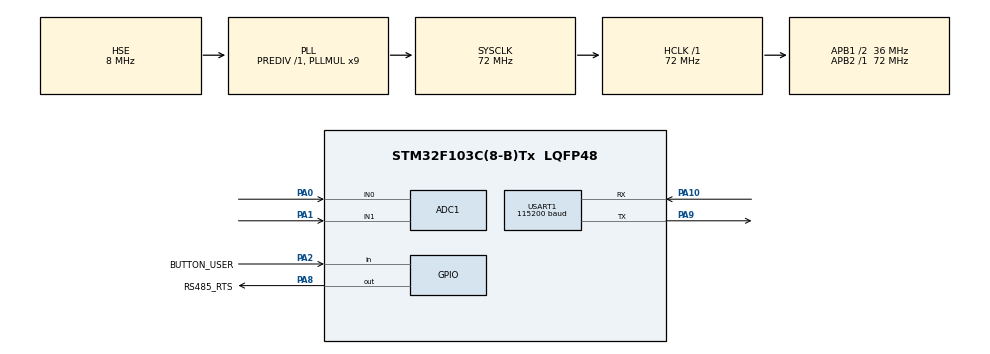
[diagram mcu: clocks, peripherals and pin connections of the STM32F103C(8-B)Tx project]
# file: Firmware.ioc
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ADC1.Channel-0\#ChannelRegularConversion=ADC_CHANNEL_0
ADC1.Channel-1\#ChannelRegularConversion=ADC_CHANNEL_1
ADC1.ContinuousConvMode=DISABLE
ADC1.ExternalTrigConv=ADC_EXTERNALTRIGCONV_T3_TRGO
ADC1.NbrOfConversion=2
ADC1.NbrOfConversionFlag=1
ADC1.Rank-0\#ChannelRegularConversion=1
ADC1.Rank-1\#ChannelRegularConversion=2
ADC1.SamplingTime-0\#ChannelRegularConversion=ADC_SAMPLETIME_1CYCLE_5
ADC1.SamplingTime-1\#ChannelRegularConversion=ADC_SAMPLETIME_1CYCLE_5
ADC1.master=1
Dma.ADC1.0.Direction=DMA_PERIPH_TO_MEMORY
Dma.ADC1.0.Instance=DMA1_Channel1
Dma.ADC1.0.MemDataAlignment=DMA_MDATAALIGN_HALFWORD
Dma.ADC1.0.MemInc=DMA_MINC_ENABLE
Dma.ADC1.0.Mode=DMA_CIRCULAR
Dma.ADC1.0.PeriphDataAlignment=DMA_PDATAALIGN_HALFWORD
Dma.ADC1.0.PeriphInc=DMA_PINC_DISABLE
Dma.ADC1.0.Priority=DMA_PRIORITY_LOW
Dma.Request0=ADC1
Mcu.Family=STM32F1
Mcu.Name=STM32F103C(8-B)Tx
Mcu.Package=LQFP48
NVIC.DMA1_Channel1_IRQn=true\:0\:0\:false\:false\:true\:false\:true
NVIC.PriorityGroup=NVIC_PRIORITYGROUP_4
NVIC.TIM4_IRQn=true\:0\:0\:false\:false\:true\:true\:true
NVIC.USART1_IRQn=true\:0\:0\:false\:false\:true\:true\:true
PA0-WKUP.Signal=ADCx_IN0
PA1.Signal=ADCx_IN1
PA10.Mode=Asynchronous
PA10.Signal=USART1_RX
PA13.Mode=Serial_Wire
PA13.Signal=SYS_JTMS-SWDIO
PA14.Mode=Serial_Wire
PA14.Signal=SYS_JTCK-SWCLK
PA2.GPIO_Label=BUTTON_USER
PA2.GPIO_PuPd=GPIO_PULLUP
PA2.Signal=GPIO_Input
PA8.GPIO_Label=RS485_RTS
PA8.GPIO_Speed=GPIO_SPEED_FREQ_HIGH
PA8.Signal=GPIO_Output
PA9.Mode=Asynchronous
PA9.Signal=USART1_TX
PD0-OSC_IN.Mode=HSE-External-Oscillator
PD0-OSC_IN.Signal=RCC_OSC_IN
PD1-OSC_OUT.Mode=HSE-External-Oscillator
PD1-OSC_OUT.Signal=RCC_OSC_OUT
ProjectManager.HeapSize=0x200
ProjectManager.StackSize=0x400
ProjectManager.TargetToolchain=Makefile
RCC.ADCPresc=RCC_ADCPCLK2_DIV6
RCC.AHBFreq_Value=72000000
RCC.APB1CLKDivider=RCC_HCLK_DIV2
RCC.APB1Freq_Value=36000000
RCC.APB1TimFreq_Value=72000000
RCC.APB2Freq_Value=72000000
RCC.APB2TimFreq_Value=72000000
RCC.HCLKFreq_Value=72000000
RCC.PLLMUL=RCC_PLL_MUL9
RCC.PLLSourceVirtual=RCC_PLLSOURCE_HSE
RCC.SYSCLKFreq_VALUE=72000000
RCC.SYSCLKSource=RCC_SYSCLKSOURCE_PLLCLK
RCC.USBFreq_Value=72000000
SH.ADCx_IN0.0=ADC1_IN0,IN0
SH.ADCx_IN1.0=ADC1_IN1,IN1
TIM3.AutoReloadPreload=TIM_AUTORELOAD_PRELOAD_ENABLE
TIM3.Period=9
TIM3.Prescaler=7199
TIM3.TIM_MasterOutputTrigger=TIM_TRGO_UPDATE
TIM4.Period=49
TIM4.Prescaler=71
USART1.BaudRate=115200
USART1.VirtualMode=VM_ASYNC
VP_TIM3_VS_ClockSourceINT.Mode=Internal
VP_TIM4_VS_ClockSourceINT.Mode=Internal
board=custom

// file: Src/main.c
/* USER CODE BEGIN Header */
/**
  ******************************************************************************
  * @file           : main.c
  * @brief          : Main program body
  ******************************************************************************
  * @attention
  *
  * <h2><center>&copy; Copyright (c) 2020 STMicroelectronics.
  * All rights reserved.</center></h2>
  *
  * This software component is licensed by ST under BSD 3-Clause license,
  * the "License"; You may not use this file except in compliance with the
  * License. You may obtain a copy of the License at:
  *                        opensource.org/licenses/BSD-3-Clause
  *
  ******************************************************************************
  */
/* USER CODE END Header */

#include "main.h"

/* USER CODE BEGIN Includes */
#include "mb.h"
#include "mbport.h"
#include "user_mb_app.h"
/* USER CODE END Includes */

ADC_HandleTypeDef hadc1;
DMA_HandleTypeDef hdma_adc1;

TIM_HandleTypeDef htim3;
TIM_HandleTypeDef htim4;

UART_HandleTypeDef huart1;

void SystemClock_Config(void);
static void MX_GPIO_Init(void);
static void MX_DMA_Init(void);
static void MX_USART1_UART_Init(void);
static void MX_ADC1_Init(void);
static void MX_TIM3_Init(void);
static void MX_TIM4_Init(void);

/* USER CODE BEGIN 0 */
extern uint16_t usSRegInBuf[];
extern uint8_t ucSDiscInBuf[];
uint16_t adc_data[2];

void HAL_ADC_ConvCpltCallback(ADC_HandleTypeDef* hadc)
{
	if(hadc->Instance == hadc1.Instance)
	{
		usSRegInBuf[0] = adc_data[0];
		usSRegInBuf[1] = adc_data[1];
	}
}

/* USER CODE END 0 */

int main(void)
{

  /* MCU Configuration--------------------------------------------------------*/

  /* Reset of all peripherals, Initializes the Flash interface and the Systick. */
  HAL_Init();

  /* Configure the system clock */
  SystemClock_Config();

  /* Initialize all configured peripherals */
  MX_GPIO_Init();
  MX_DMA_Init();
  MX_USART1_UART_Init();
  MX_ADC1_Init();
  MX_TIM3_Init();
  MX_TIM4_Init();
  /* USER CODE BEGIN 2 */
  HAL_TIM_Base_Start_IT(&htim3);
  HAL_ADC_Start_DMA(&hadc1,(uint32_t*) &adc_data, 2);

  eMBInit( MB_RTU, 0x0A, &huart1, 115200, &htim4 );
  eMBEnable( );
  /* USER CODE END 2 */

  /* Infinite loop */
  while (1)
  {

    /* USER CODE BEGIN 3 */
  	eMBPoll();
  }
  /* USER CODE END 3 */
}

void SystemClock_Config(void)
{
  RCC_OscInitTypeDef RCC_OscInitStruct = {0};
  RCC_ClkInitTypeDef RCC_ClkInitStruct = {0};
  RCC_PeriphCLKInitTypeDef PeriphClkInit = {0};

  /** Initializes the CPU, AHB and APB busses clocks
  */
  RCC_OscInitStruct.OscillatorType = RCC_OSCILLATORTYPE_HSE;
  RCC_OscInitStruct.HSEState = RCC_HSE_ON;
  RCC_OscInitStruct.HSEPredivValue = RCC_HSE_PREDIV_DIV1;
  RCC_OscInitStruct.HSIState = RCC_HSI_ON;
  RCC_OscInitStruct.PLL.PLLState = RCC_PLL_ON;
  RCC_OscInitStruct.PLL.PLLSource = RCC_PLLSOURCE_HSE;
  RCC_OscInitStruct.PLL.PLLMUL = RCC_PLL_MUL9;
  if (HAL_RCC_OscConfig(&RCC_OscInitStruct) != HAL_OK)
  {
    Error_Handler();
  }
  /** Initializes the CPU, AHB and APB busses clocks
  */
  RCC_ClkInitStruct.ClockType = RCC_CLOCKTYPE_HCLK|RCC_CLOCKTYPE_SYSCLK
                              |RCC_CLOCKTYPE_PCLK1|RCC_CLOCKTYPE_PCLK2;
  RCC_ClkInitStruct.SYSCLKSource = RCC_SYSCLKSOURCE_PLLCLK;
  RCC_ClkInitStruct.AHBCLKDivider = RCC_SYSCLK_DIV1;
  RCC_ClkInitStruct.APB1CLKDivider = RCC_HCLK_DIV2;
  RCC_ClkInitStruct.APB2CLKDivider = RCC_HCLK_DIV1;

  if (HAL_RCC_ClockConfig(&RCC_ClkInitStruct, FLASH_LATENCY_2) != HAL_OK)
  {
    Error_Handler();
  }
  PeriphClkInit.PeriphClockSelection = RCC_PERIPHCLK_ADC;
  PeriphClkInit.AdcClockSelection = RCC_ADCPCLK2_DIV6;
  if (HAL_RCCEx_PeriphCLKConfig(&PeriphClkInit) != HAL_OK)
  {
    Error_Handler();
  }
}

static void MX_ADC1_Init(void)
{

  ADC_ChannelConfTypeDef sConfig = {0};

  /** Common config
  */
  hadc1.Instance = ADC1;
  hadc1.Init.ScanConvMode = ADC_SCAN_ENABLE;
  hadc1.Init.ContinuousConvMode = DISABLE;
  hadc1.Init.DiscontinuousConvMode = DISABLE;
  hadc1.Init.ExternalTrigConv = ADC_EXTERNALTRIGCONV_T3_TRGO;
  hadc1.Init.DataAlign = ADC_DATAALIGN_RIGHT;
  hadc1.Init.NbrOfConversion = 2;
  if (HAL_ADC_Init(&hadc1) != HAL_OK)
  {
    Error_Handler();
  }
  /** Configure Regular Channel
  */
  sConfig.Channel = ADC_CHANNEL_0;
  sConfig.Rank = ADC_REGULAR_RANK_1;
  sConfig.SamplingTime = ADC_SAMPLETIME_1CYCLE_5;
  if (HAL_ADC_ConfigChannel(&hadc1, &sConfig) != HAL_OK)
  {
    Error_Handler();
  }
  /** Configure Regular Channel
  */
  sConfig.Channel = ADC_CHANNEL_1;
  sConfig.Rank = ADC_REGULAR_RANK_2;
  if (HAL_ADC_ConfigChannel(&hadc1, &sConfig) != HAL_OK)
  {
    Error_Handler();
  }

}

static void MX_TIM3_Init(void)
{

  TIM_ClockConfigTypeDef sClockSourceConfig = {0};
  TIM_MasterConfigTypeDef sMasterConfig = {0};

  htim3.Instance = TIM3;
  htim3.Init.Prescaler = 7199;
  htim3.Init.CounterMode = TIM_COUNTERMODE_UP;
  htim3.Init.Period = 9;
  htim3.Init.ClockDivision = TIM_CLOCKDIVISION_DIV1;
  htim3.Init.AutoReloadPreload = TIM_AUTORELOAD_PRELOAD_ENABLE;
  if (HAL_TIM_Base_Init(&htim3) != HAL_OK)
  {
    Error_Handler();
  }
  sClockSourceConfig.ClockSource = TIM_CLOCKSOURCE_INTERNAL;
  if (HAL_TIM_ConfigClockSource(&htim3, &sClockSourceConfig) != HAL_OK)
  {
    Error_Handler();
  }
  sMasterConfig.MasterOutputTrigger = TIM_TRGO_UPDATE;
  sMasterConfig.MasterSlaveMode = TIM_MASTERSLAVEMODE_DISABLE;
  if (HAL_TIMEx_MasterConfigSynchronization(&htim3, &sMasterConfig) != HAL_OK)
  {
    Error_Handler();
  }

}

static void MX_TIM4_Init(void)
{

  TIM_ClockConfigTypeDef sClockSourceConfig = {0};
  TIM_MasterConfigTypeDef sMasterConfig = {0};

  htim4.Instance = TIM4;
  htim4.Init.Prescaler = 71;
  htim4.Init.CounterMode = TIM_COUNTERMODE_UP;
  htim4.Init.Period = 49;
  htim4.Init.ClockDivision = TIM_CLOCKDIVISION_DIV1;
  htim4.Init.AutoReloadPreload = TIM_AUTORELOAD_PRELOAD_DISABLE;
  if (HAL_TIM_Base_Init(&htim4) != HAL_OK)
  {
    Error_Handler();
  }
  sClockSourceConfig.ClockSource = TIM_CLOCKSOURCE_INTERNAL;
  if (HAL_TIM_ConfigClockSource(&htim4, &sClockSourceConfig) != HAL_OK)
  {
    Error_Handler();
  }
  sMasterConfig.MasterOutputTrigger = TIM_TRGO_RESET;
  sMasterConfig.MasterSlaveMode = TIM_MASTERSLAVEMODE_DISABLE;
  if (HAL_TIMEx_MasterConfigSynchronization(&htim4, &sMasterConfig) != HAL_OK)
  {
    Error_Handler();
  }

}

static void MX_USART1_UART_Init(void)
{

  huart1.Instance = USART1;
  huart1.Init.BaudRate = 115200;
  huart1.Init.WordLength = UART_WORDLENGTH_8B;
  huart1.Init.StopBits = UART_STOPBITS_1;
  huart1.Init.Parity = UART_PARITY_NONE;
  huart1.Init.Mode = UART_MODE_TX_RX;
  huart1.Init.HwFlowCtl = UART_HWCONTROL_NONE;
  huart1.Init.OverSampling = UART_OVERSAMPLING_16;
  if (HAL_UART_Init(&huart1) != HAL_OK)
  {
    Error_Handler();
  }

}

static void MX_DMA_Init(void)
{

  /* DMA controller clock enable */
  __HAL_RCC_DMA1_CLK_ENABLE();

  /* DMA interrupt init */
  /* DMA1_Channel1_IRQn interrupt configuration */
  HAL_NVIC_SetPriority(DMA1_Channel1_IRQn, 0, 0);
  HAL_NVIC_EnableIRQ(DMA1_Channel1_IRQn);

}

static void MX_GPIO_Init(void)
{
  GPIO_InitTypeDef GPIO_InitStruct = {0};

  /* GPIO Ports Clock Enable */
  __HAL_RCC_GPIOD_CLK_ENABLE();
  __HAL_RCC_GPIOA_CLK_ENABLE();

  /*Configure GPIO pin Output Level */
  HAL_GPIO_WritePin(RS485_RTS_GPIO_Port, RS485_RTS_Pin, GPIO_PIN_RESET);

  /*Configure GPIO pin : BUTTON_USER_Pin */
  GPIO_InitStruct.Pin = BUTTON_USER_Pin;
  GPIO_InitStruct.Mode = GPIO_MODE_INPUT;
  GPIO_InitStruct.Pull = GPIO_PULLUP;
  HAL_GPIO_Init(BUTTON_USER_GPIO_Port, &GPIO_InitStruct);

  /*Configure GPIO pin : RS485_RTS_Pin */
  GPIO_InitStruct.Pin = RS485_RTS_Pin;
  GPIO_InitStruct.Mode = GPIO_MODE_OUTPUT_PP;
  GPIO_InitStruct.Pull = GPIO_NOPULL;
  GPIO_InitStruct.Speed = GPIO_SPEED_FREQ_HIGH;
  HAL_GPIO_Init(RS485_RTS_GPIO_Port, &GPIO_InitStruct);

}

void Error_Handler(void)
{
}

/************************ (C) COPYRIGHT STMicroelectronics *****END OF FILE****/
